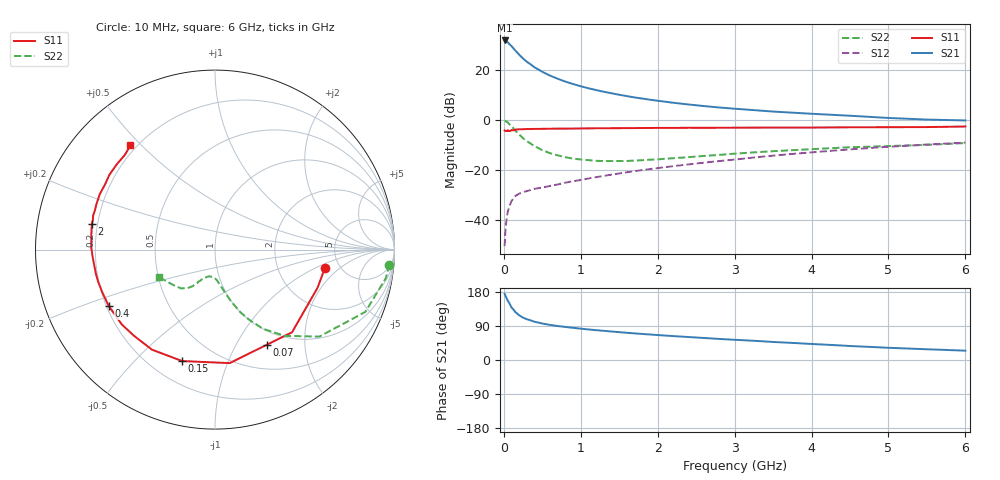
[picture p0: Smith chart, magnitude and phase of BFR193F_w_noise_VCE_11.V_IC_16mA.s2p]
! Infineon Technologies  Discrete & RF Semiconductors
! BFR193F
! VCE =  11. V,  IC =  16 mA
! Common Emitter S-Parameters:  Jan 2017
# GHz  S  MA  R  50
!  f  S11  S21  S12  S22
! GHz  MAG  ANG  MAG  ANG  MAG  ANG  MAG  ANG
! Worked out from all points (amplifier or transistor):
!   77 points, 10 MHz to 6 GHz, reference 50 ohm
!   highest |S21| = 31.9 dB at 10 MHz (marker M1)
!   |S21| within 3 dB of that: start of sweep to 120.7 MHz
!   unconditionally stable (mu >= 1): 1.418 GHz to 2.807 GHz
!   at 130 MHz: K = 0.24, MSG = 29.9 dB, |S12| = -31.1 dB
!   at 2.2 GHz: K = 1.03, MAG = 11.7 dB, |S12| = -18.4 dB
!   at 6 GHz: K = 0.81, MSG = 4.4 dB, |S12| = -9.0 dB
!   lowest NFmin = 0.97 dB at 450 MHz
!   S11 on the Smith chart (normalised r, x): 10 MHz: 3.84, -1.26; 70 MHz: 0.81, -1.35; 150 MHz: 0.33, -0.70; 400 MHz: 0.21, -0.24; 2 GHz: 0.18, +0.10; 6 GHz: 0.18, +0.46
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0.01  0.6213 -9.3  39.51 175.1  0.003 84.6  0.9751 -4.9
0.02  0.6098 -20.3  38.88 169.9  0.0059 84.5  0.9655 -9.4
0.05  0.6296 -47.0  36.49 156.8  0.0145 70.5  0.9066 -22.5
0.07  0.6037 -61.2  33.7 150.3  0.0182 64.0  0.838 -28.7
0.1  0.6377 -82.6  30.49 138.6  0.0241 58.1  0.7572 -39.8
0.15  0.6474 -106.4  24.77 126.4  0.0303 50.1  0.6175 -51.1
0.2  0.6589 -122.2  20.44 117.9  0.0339 45.3  0.5156 -58.8
0.25  0.6591 -133.3  17.15 111.8  0.0364 44.1  0.4348 -64.0
0.3  0.6661 -141.3  14.76 107.4  0.038 42.9  0.3784 -67.8
0.4  0.6699 -152.0  11.43 100.8  0.0422 43.7  0.2997 -72.9
0.5  0.6714 -159.1  9.295 96.3  0.0448 46.2  0.2509 -76.5
0.6  0.6748 -164.3  7.828 92.6  0.0482 48.8  0.2185 -79.5
0.7  0.6772 -168.3  6.752 89.7  0.0516 50.9  0.1976 -82.0
0.9  0.68 -174.3  5.296 84.9  0.0599 55.4  0.1697 -86.8
1.1  0.6854 -178.7  4.358 80.6  0.068 58.5  0.1585 -91.6
1.5  0.692 174.7  3.231 73.5  0.0857 63.9  0.1523 -100.6
2  0.7011 168.3  2.451 65.8  0.1098 67.3  0.1646 -109.5
2.1  0.7005 167.3  2.343 64.5  0.1147 67.8  0.1688 -110.5
3.1  0.7083 157.9  1.654 52.3  0.169 70.6  0.2188 -118.8
4.1  0.7135 148.5  1.321 41.3  0.2333 69.3  0.2673 -126.6
5.1  0.7249 138.1  1.092 31.5  0.2996 65.1  0.3064 -140.5
6  0.7475 129.1  0.989 24.6  0.3554 60.1  0.3485 -154.0
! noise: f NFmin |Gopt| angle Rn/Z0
0.45  0.97  0.28  157  0.06
0.9  1.06  0.38  161  0.06
1.9  1.7  0.58  -173  0.06
2.4  2  0.61  -163  0.09
